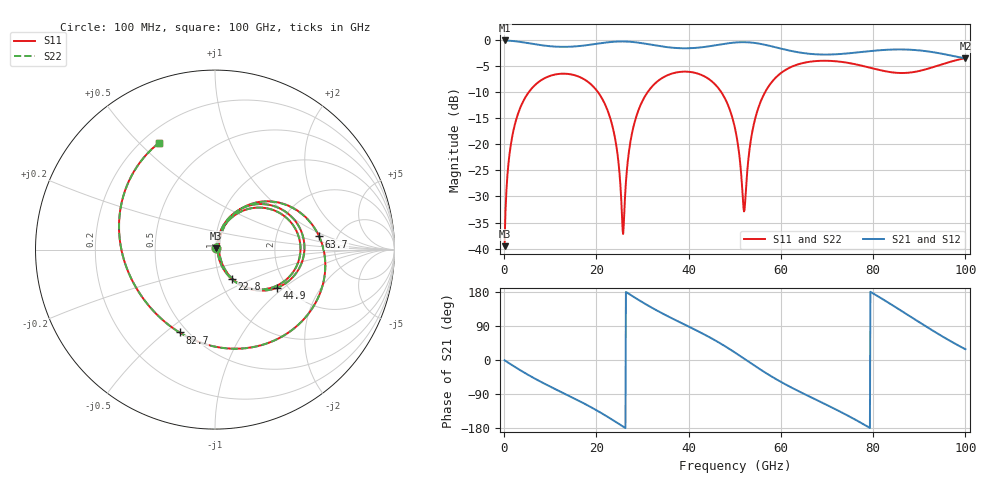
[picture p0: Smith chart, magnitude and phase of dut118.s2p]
! Touchstone file exported from HFSS 2026.1.0
!  File:  C:/ffzhzh/LocalFiles/Ansys_Project_Files/temp_train_TSV_RDL_118_1783636648_33328.aedt
!  Generated:  06:43:43 AM Jul 10, 2026
!  Design:  TSV_RDL
!  Project:  temp_train_TSV_RDL_118_1783636648_33328
! Variables:
!  h_bsmrdl = 4.6um
!  h_ox = 20um
!  h_rdl = 5um
!  h_sub = 72.47um
!  h_tmrdl = 3.14um
!  h_tsv = 72.47um
!  h_via = 3um
!  l_bsmrdl = 376.95um
!  l_sub = 2248.09um
!  l_tmrdl = 141.66um
!  m_sub = 200um
!  pitch = 59.33um
!  r_tsv = 14.64um
!  s_tmrdl = 10um
!  w_bsmrdl = 22.06um
!  w_sub = 500um
!  w_tmrdl = 28.14um
!  x_tsv_center1 = 155.73um
!  x_tsv_center2 = 554.74um
!  x_tsv_center3 = 724.54um
!  x_tsv_center4 = 1123.55um
!  x_tsv_center5 = 1293.35um
!  x_tsv_center6 = 1692.36um
# GHz S MA R 50.000000
! Terminal data exported
! Port[1] = TM_RDL1_1_T1
! Port[2] = TM_RDL5_1_T1
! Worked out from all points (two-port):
!   1000 points, 100 MHz to 100 GHz, reference 50 ohm
!   highest |S21| = -0.06 dB at 100 MHz (marker M1); lowest = -3.5 dB at 100 GHz (marker M2)
!   |S21| within 3 dB of the highest: start of sweep to 97.49 GHz
!   lowest |S11| = -39.5 dB at 100 MHz (marker M3), VSWR 1.02, Z = 50.8 + j0.751 ohm
!   |S11| at or under -10 dB: start of sweep to 5.327 GHz; 20.36 GHz to 31.1 GHz (10.74 GHz wide, 41.8 % of centre); 47.09 GHz to 56.57 GHz (9.481 GHz wide, 18.3 % of centre)
!   |S22| runs from -39.5 to -3.5 dB; largest |S21 - S12| = 1.8e-14
!   S11 on the Smith chart (normalised r, x): 100 MHz: 1.02, +0.02; 22.8 GHz: 1.14, -0.39; 44.9 GHz: 1.77, -0.90; 63.7 GHz: 3.63, +0.81; 82.7 GHz: 0.45, -0.56; 100 GHz: 0.26, +0.57
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0.1  0.01055 44.6  0.9926 -0.8  0.9926 -0.8  0.01055 44.6
! Gamma 0 0 0 0
! Port Impedance 50 0 50 0
1.5  0.1027 72.4  0.9844 -11.8  0.9844 -11.8  0.1027 72.4
4.2  0.2623 54.9  0.9511 -32.1  0.9511 -32.1  0.2623 54.9
9.8  0.4512 19.1  0.8752 -69.1  0.8752 -69.1  0.4512 19.1
16.8  0.4338 -22.0  0.882 -111.4  0.882 -111.4  0.4339 -22.0
22.8  0.1901 -60.2  0.9564 -152.7  0.9564 -152.7  0.1901 -60.2
24.4  0.09185 -67.7  0.9683 -164.9  0.9683 -164.9  0.09193 -67.7
25.8  0.01381 8.0  0.9707 -175.8  0.9707 -175.8  0.01391 7.7
28.3  0.1638 69.2  0.955 164.9  0.955 164.9  0.1637 69.1
33.4  0.4074 36.6  0.8807 128.8  0.8807 128.8  0.4073 36.6
44.9  0.4065 -31.5  0.8788 57.6  0.8788 57.6  0.4066 -31.5
50.1  0.1392 -62.8  0.9486 19.3  0.9486 19.3  0.1394 -62.5
52.1  0.0233 15.7  0.9556 3.0  0.9556 3.0  0.02406 15.1
53.7  0.1254 68.7  0.9465 -10.1  0.9465 -10.1  0.1255 68.2
55.6  0.256 59.0  0.92 -25.4  0.92 -25.4  0.2561 58.8
63.7  0.5852 7.2  0.7653 -81.4  0.7653 -81.4  0.5851 7.0
66.7  0.624 -10.2  0.7358 -99.4  0.7358 -99.4  0.6239 -10.3
75.3  0.5968 -61.3  0.7517 -151.9  0.7517 -151.9  0.5968 -61.5
82.7  0.5021 -113.1  0.8067 155.8  0.8067 155.8  0.502 -113.4
83.4  0.4958 -118.4  0.8096 150.6  0.8096 150.6  0.4957 -118.7
90.9  0.5172 -177.5  0.7892 92.9  0.7892 92.9  0.5171 -177.7
100  0.6718 117.6  0.6684 28.4  0.6684 28.4  0.6717 117.4
